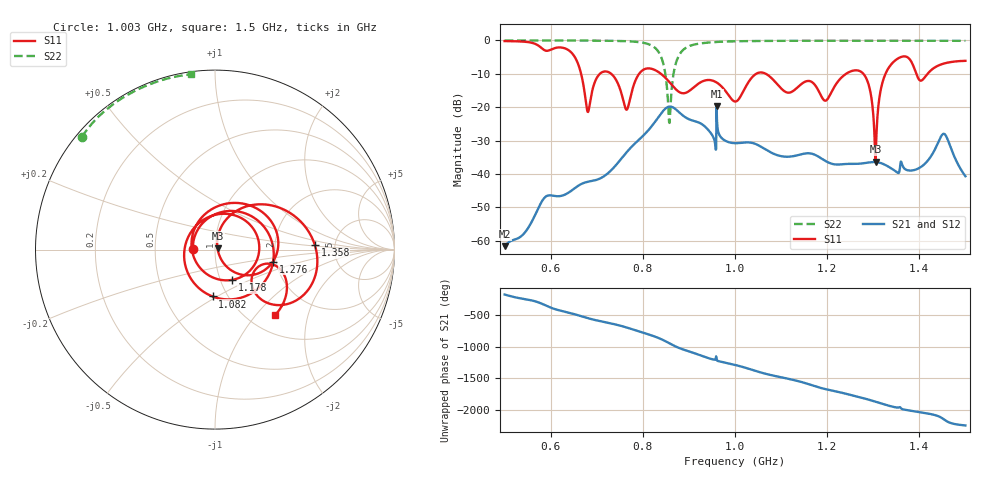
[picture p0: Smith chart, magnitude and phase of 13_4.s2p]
! TOUCHSTONE file generated by CST MICROWAVE STUDIO
! Date and time: Sat Nov 14 19:59:59 2020
! Project name: Scenario_1_Planar_Body_Tissue_Out_of_Line.cst
! Parameters = {dy1=138.4; L_HA=400; Ltissue=700; MT=2.54; Rad_Dielectric=30; Rad_Lower=7.3; Rad_Upper=30; Wtissue=700; a_HA=580; a_WG=246; b_HA=500; b_WG=121; c_HA=0; c_WG=187; d_feed=85; dx1=693; h_feed=15; h_lower=18; h_upper=40; hfat=3; hgap=25; hmuscle=50; hskin=1.5}
! Header version: 2018
! Port assignment regex: !\s*Touchstone port\s*([0-9]+)\s*=\s*(CST MWS port|CST DS port)\s*([0-9]+|Zmin|Zmax)\s*\(\"(.*)\"\)(\s*mode\s*([0-9]+))?.*
! Touchstone port assignment:
! Touchstone port 1 = CST MWS port 1 ("")
! Touchstone port 2 = CST MWS port 2 ("")
# GHz S DB R 50
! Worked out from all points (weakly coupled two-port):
!   1003 points, 500 MHz to 1.5 GHz, reference 50 ohm
!   highest |S21| = -19.77 dB at 960 MHz (marker M1); lowest = -61.6 dB at 500 MHz (marker M2)
!   lowest |S11| = -36.3 dB at 1.305 GHz (marker M3), VSWR 1.03, Z = 51.4 + j0.631 ohm
!   |S11| at or under -10 dB: 731.4 MHz to 791.8 MHz (60.46 MHz wide, 7.94 % of centre); 839.3 MHz to 1.046 GHz (206.6 MHz wide, 21.9 % of centre); 1.067 GHz to 1.241 GHz (174 MHz wide, 15.1 % of centre) (the widest 3 of 6)
!   |S22| runs from -24.7 to 0.0 dB; largest |S21 - S12| = 0.0039
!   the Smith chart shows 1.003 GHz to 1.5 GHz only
!   S11 on the Smith chart (normalised r, x): 1.003 GHz: 0.78, +0.00; 1.082 GHz: 0.85, -0.48; 1.178 GHz: 1.14, -0.40; 1.276 GHz: 1.93, -0.29; 1.358 GHz: 3.49, +0.25; 1.5 GHz: 1.31, -1.27
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0.5  -0.20 -121.6  -61.61 -175.2  -61.61 -175.2  -0.01 151.2
0.621  -2.10 174.1  -46.60 -69.7  -46.60 -69.7  -0.02 142.5
0.667  -10.56 103.5  -42.95 -159.3  -42.95 -159.3  -0.04 138.4
0.681  -21.44 148.5  -42.31 170.3  -42.31 170.3  -0.05 137.0
0.719  -9.28 144.1  -40.35 105.9  -40.35 105.9  -0.09 132.4
0.765  -20.75 -32.7  -33.46 22.7  -33.46 22.7  -0.24 124.3
0.798  -9.08 163.2  -28.89 -53.1  -28.89 -53.1  -0.63 113.5
0.834  -9.47 62.3  -22.93 -142.9  -22.93 -142.9  -3.42 83.4
0.858  -12.52 -9.4  -19.80 131.1  -19.80 131.1  -24.71 -63.9
0.883  -15.72 -100.3  -22.03 46.8  -22.03 46.8  -3.52 -176.5
0.96  -12.59 -14.9  -19.77 -101.4  -19.86 -99.3  -0.46 146.8
1  -18.29 -165.3  -30.77 150.8  -30.77 150.8  -0.25 140.1
1.003  -18.23 178.6  -30.77 145.4  -30.77 145.4  -0.25 139.7
1.082  -11.65 -92.9  -33.82 -16.7  -33.82 -16.7  -0.13 131.3
1.167  -12.47 -18.0  -33.93 -170.9  -33.93 -170.9  -0.09 124.2
1.178  -14.26 -60.6  -34.55 163.8  -34.55 163.8  -0.09 123.3
1.276  -9.64 -11.6  -36.83 -11.0  -36.83 -11.0  -0.08 115.9
1.305  -36.29 23.6  -36.43 -71.7  -36.43 -71.7  -0.09 113.7
1.334  -8.10 39.0  -37.88 -135.9  -37.88 -135.9  -0.09 111.5
1.358  -5.08 2.6  -38.10 -158.5  -38.12 -159.3  -0.09 109.7
1.453  -6.93 -27.1  -27.95 10.5  -27.97 10.6  -0.11 102.0
1.5  -6.11 -47.5  -40.68 -87.5  -40.68 -87.5  -0.13 97.9
